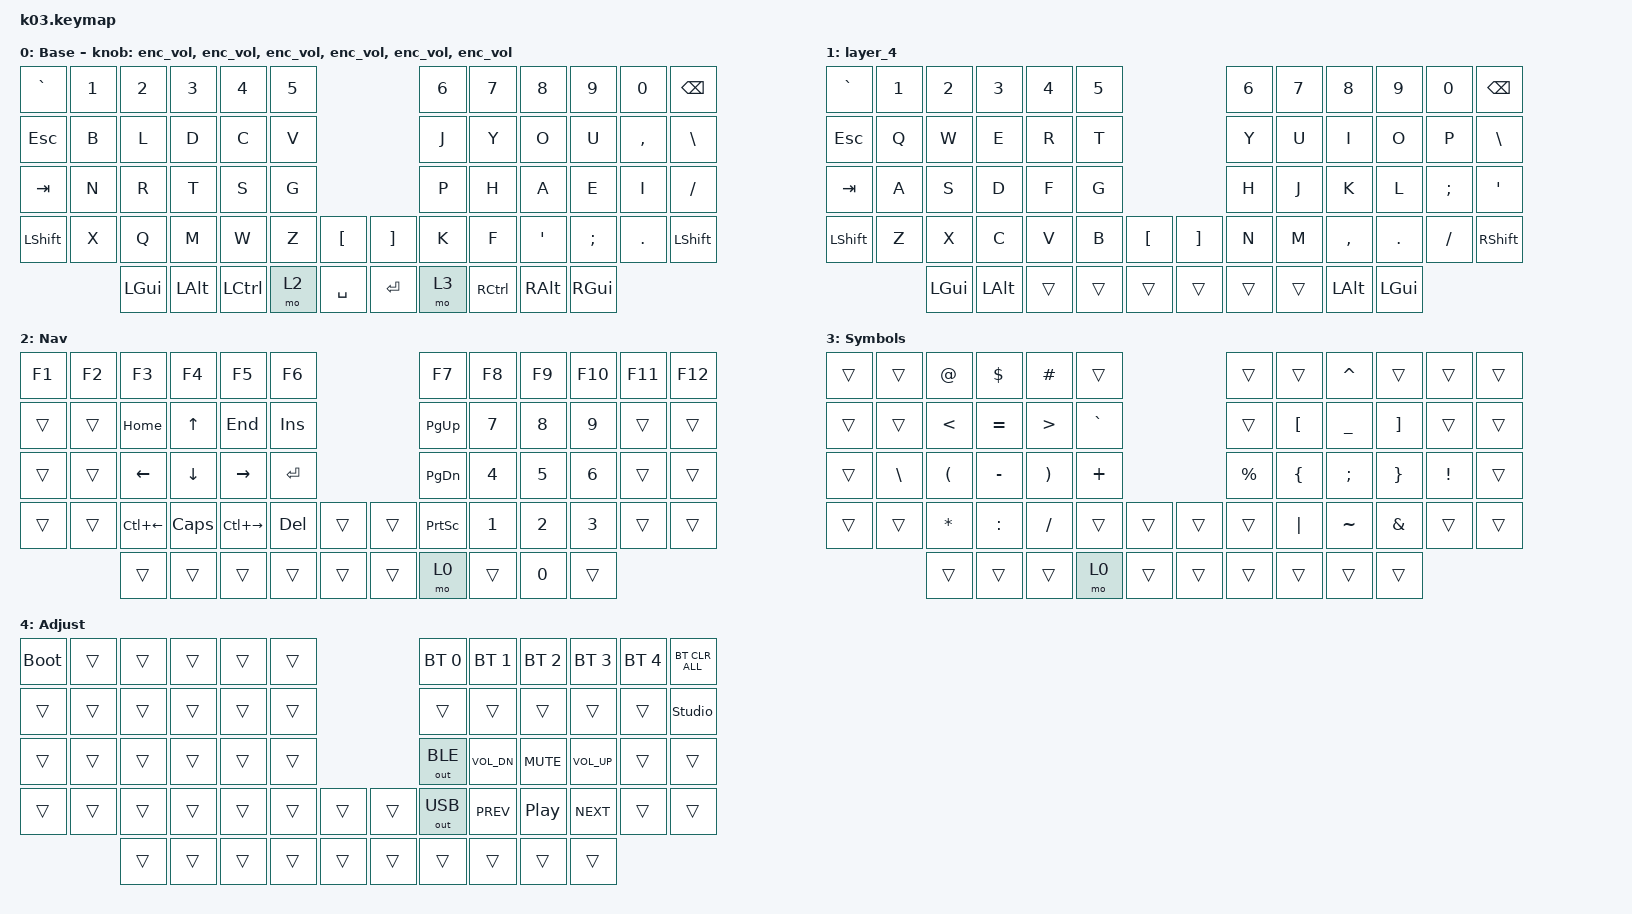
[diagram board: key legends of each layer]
#include "keys_ru.h"
#include <behaviors.dtsi>
#include <dt-bindings/zmk/bt.h>
#include <dt-bindings/zmk/keys.h>
#include <dt-bindings/zmk/outputs.h>

/ {
    behaviors {
        enc_vol: enc_vol {
            compatible = "zmk,behavior-sensor-rotate";
            label = "ENC_VOL";
            #sensor-binding-cells = <0>;
            bindings = <&kp C_VOL_UP>, <&kp C_VOL_DN>;
        };
    };

    combos {
        compatible = "zmk,combos";

        lang_sw {
            bindings = <&ls>;
            key-positions = <42 43>;
            timeout-ms = <100>;
        };
    };

    macros {
        ls: ls {
            compatible = "zmk,behavior-macro";
            #binding-cells = <0>;
            bindings = <&kp LC(SPACE) &tog 1>;
            label = "LS";
        };
    };

    keymap {
        compatible = "zmk,keymap";

        base {
            bindings = <
&kp GRAVE  &kp N1  &kp N2    &kp N3    &kp N4     &kp N5                         &kp N6  &kp N7     &kp N8    &kp N9    &kp N0     &kp BSPC
&kp ESC    &kp B   &kp L     &kp D     &kp C      &kp V                          &kp J   &kp Y      &kp O     &kp U     &kp COMMA  &kp BSLH
&kp TAB    &kp N   &kp R     &kp T     &kp S      &kp G                          &kp P   &kp H      &kp A     &kp E     &kp I      &kp FSLH
&kp LSHFT  &kp X   &kp Q     &kp M     &kp W      &kp Z   &kp LBKT     &kp RBKT  &kp K   &kp F      &kp APOS  &kp SEMI  &kp DOT    &kp LSHFT
                   &kp LGUI  &kp LALT  &kp LCTRL  &mo 2   &kp SPACE    &kp RET   &mo 3   &kp RCTRL  &kp RALT  &kp RGUI
            >;

            display-name = "Base";
            sensor-bindings =
                <&enc_vol>,
                <&enc_vol>,
                <&enc_vol>,
                <&enc_vol>,
                <&enc_vol>,
                <&enc_vol>;
        };

        layer_4 {
            bindings = <
&kp GRAVE  &kp N1  &kp N2    &kp N3    &kp N4  &kp N5                        &kp N6  &kp N7  &kp N8     &kp N9    &kp N0    &kp BSPC
&kp ESC    &kp Q   &kp W     &kp E     &kp R   &kp T                         &kp Y   &kp U   &kp I      &kp O     &kp P     &kp BSLH
&kp TAB    &kp A   &kp S     &kp D     &kp F   &kp G                         &kp H   &kp J   &kp K      &kp L     &kp SEMI  &kp APOS
&kp LSHFT  &kp Z   &kp X     &kp C     &kp V   &kp B   &kp LBKT    &kp RBKT  &kp N   &kp M   &kp COMMA  &kp DOT   &kp FSLH  &kp RSHFT
                   &kp LGUI  &kp LALT  &trans  &trans  &trans      &trans    &trans  &trans  &kp LALT   &kp LGUI
            >;
        };

        nav {
            bindings = <
&kp F1  &kp F2  &kp F3        &kp F4    &kp F5         &kp F6                     &kp F7           &kp F8  &kp F9  &kp F10  &kp F11  &kp F12
&trans  &trans  &kp HOME      &kp UP    &kp END        &kp INS                    &kp PG_UP        &kp N7  &kp N8  &kp N9   &trans   &trans
&trans  &trans  &kp LEFT      &kp DOWN  &kp RIGHT      &kp RET                    &kp PG_DN        &kp N4  &kp N5  &kp N6   &trans   &trans
&trans  &trans  &kp LC(LEFT)  &kp CAPS  &kp LC(RIGHT)  &kp DEL  &trans    &trans  &kp PRINTSCREEN  &kp N1  &kp N2  &kp N3   &trans   &trans
                &trans        &trans    &trans         &trans   &trans    &trans  &mo 0            &trans  &kp N0  &trans
            >;

            display-name = "Nav";
        };

        sym {
            bindings = <
&trans  &trans    &kp AT    &kp DLLR   &kp HASH  &trans                       &trans     &trans    &kp CARET  &trans    &trans    &trans
&trans  &trans    &kp LT    &kp EQUAL  &kp GT    &kp GRAVE                    &trans     &kp LBKT  &kp UNDER  &kp RBKT  &trans    &trans
&trans  &kp BSLH  &kp LPAR  &kp MINUS  &kp RPAR  &kp PLUS                     &kp PRCNT  &kp LBRC  &kp SEMI   &kp RBRC  &kp EXCL  &trans
&trans  &trans    &kp STAR  &kp COLON  &kp FSLH  &trans     &trans    &trans  &trans     &kp PIPE  &kp TILDE  &kp AMPS  &trans    &trans
                  &trans    &trans     &trans    &mo 0      &trans    &trans  &trans     &trans    &trans     &trans
            >;

            display-name = "Symbols";
        };

        adj {
            bindings = <
&bootloader  &trans  &trans  &trans  &trans  &trans                    &bt BT_SEL 0  &bt BT_SEL 1  &bt BT_SEL 2      &bt BT_SEL 3  &bt BT_SEL 4  &bt BT_CLR_ALL
&trans       &trans  &trans  &trans  &trans  &trans                    &trans        &trans        &trans            &trans        &trans        &studio_unlock
&trans       &trans  &trans  &trans  &trans  &trans                    &out OUT_BLE  &kp C_VOL_DN  &kp C_MUTE        &kp C_VOL_UP  &trans        &trans
&trans       &trans  &trans  &trans  &trans  &trans  &trans    &trans  &out OUT_USB  &kp C_PREV    &kp C_PLAY_PAUSE  &kp C_NEXT    &trans        &trans
                     &trans  &trans  &trans  &trans  &trans    &trans  &trans        &trans        &trans            &trans
            >;

            display-name = "Adjust";
        };
    };
};
